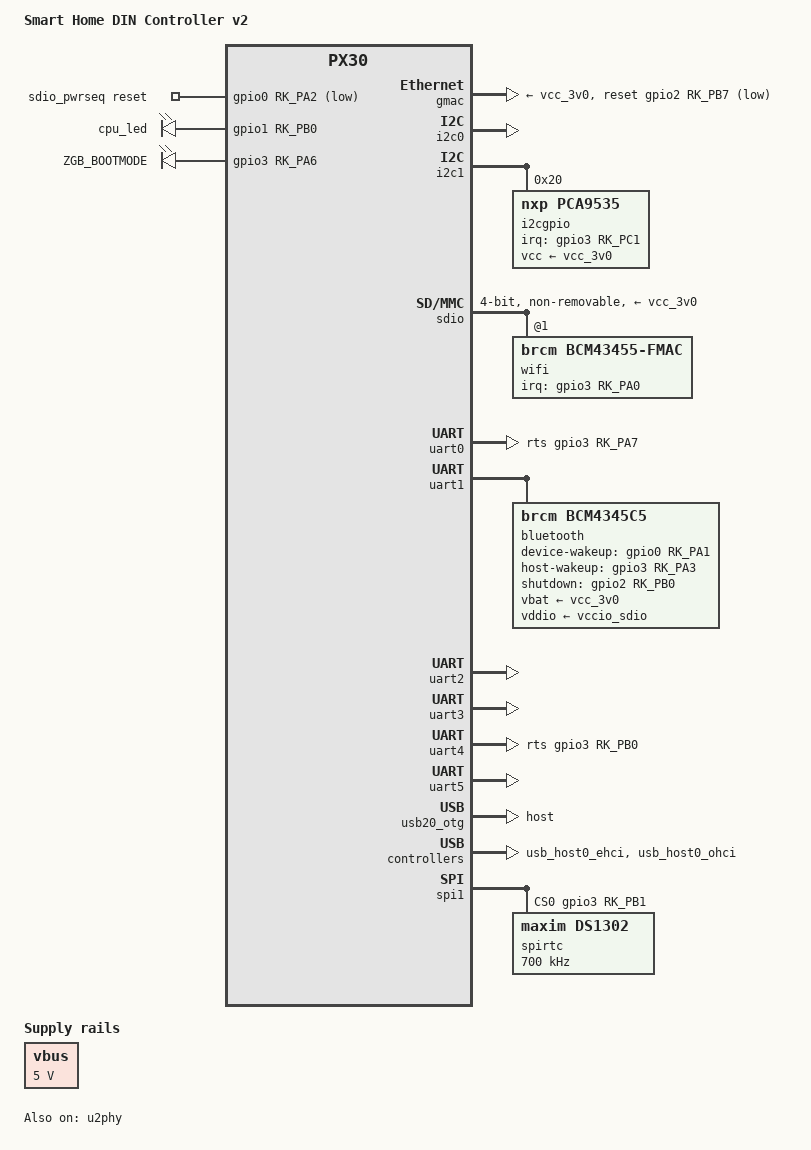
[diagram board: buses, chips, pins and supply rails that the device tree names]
/*
 * Copyright (c) 2024 InMys
 */
 
/*
 SH_PX30_DIN_CNTRL_V2.pdf + SOM_PX30_V1.pdf
*/

/dts-v1/;
#include <dt-bindings/gpio/gpio.h>
#include <dt-bindings/pinctrl/rockchip.h>
#include <dt-bindings/input/input.h>
#include "px30-inmys-som-hh.dtsi"

/ {
	model = "Smart Home DIN Controller v2";
	compatible = "inmys,px30-sh-din_cntrl_v2", "rockchip,px30";

	chosen {
		stdout-path = "serial3:115200n8";
	};
	aliases {
		ethernet0 = &gmac;
		rtc0 = &spirtc;
		rtc1 = &rk817;

		mmc0 = &sdmmc; // sdcard
		mmc1 = &sdio;  // wifi
		mmc2 = &emmc;
	};

	/* SH_PX30_DIN_CNTRL pwr */
	vbus: vbusv {
		compatible = "regulator-fixed";
		regulator-name = "vbus";
		regulator-always-on;
		regulator-boot-on;
		regulator-min-microvolt = <5000000>;
		regulator-max-microvolt = <5000000>;
	};

	sdio_pwrseq: sdio-pwrseq {
		compatible = "mmc-pwrseq-simple";
		clocks = <&rk817 1>;
		clock-names = "ext_clock";
		pinctrl-names = "default";
		pinctrl-0 = <&wifi_enable_h>;

		/*
		 * On the module itself this is one of these (depending
		 * on the actual card populated):
		 * - SDIO_RESET_L_WL_REG_ON
		 * - PDN (power down when low)
		 */
		reset-gpios = <&gpio0 RK_PA2 GPIO_ACTIVE_LOW>;
		post-power-on-delay-ms = <10>;
	};

	leds{
		compatible = "gpio-leds";
		pinctrl-names = "default";
		pinctrl-0 = <&led_gpio &zgb_reset_pin>;
		cpu_led {
			label = "cpu_led";
			gpios = <&gpio1 RK_PB0 GPIO_ACTIVE_HIGH>;
			linux,default-trigger = "heartbeat";
		};
		ZGB_BOOTMODE { // CPU_BOOTMODE in sch
			gpios = <&gpio3 RK_PA6 GPIO_ACTIVE_HIGH>;
			default-state = "on";
		};
#if 0
		/* disabled, confict with openocd(use gpio) */
		ZGB_RESET {
			gpios = <&gpio3 RK_PD3 GPIO_ACTIVE_LOW>;
			default-state = "off";
		};
#endif

#if 0
		RELAY_1 {
			gpios = <&gpio3 RK_PC3 GPIO_ACTIVE_HIGH>;
			default-state = "keep";
		};
		RELAY_2 {
			gpios = <&gpio3 RK_PC4 GPIO_ACTIVE_HIGH>;
			default-state = "keep";
		};
		RELAY_3 {
			gpios = <&gpio3 RK_PC5 GPIO_ACTIVE_HIGH>;
			default-state = "keep";
		};

		
		LED_PAIR_RED {
			gpios = <&i2cgpio 0 GPIO_ACTIVE_HIGH>;
			default-state = "off";	
		};  

		LED_PAIR_GREEN {
			gpios = <&i2cgpio 1 GPIO_ACTIVE_HIGH>;
			default-state = "off";	
		};  

		LED_WIFI_RED {
			gpios = <&i2cgpio 2 GPIO_ACTIVE_HIGH>;
			default-state = "off";	
		};  

		LED_WIFI_GREEN {
			gpios = <&i2cgpio 3 GPIO_ACTIVE_HIGH>;
			default-state = "off";	
		};  

		LED_POWER_RED {
			gpios = <&i2cgpio 4 GPIO_ACTIVE_HIGH>;
			default-state = "off";	
		};  

		LED_POWER_GREEN {
			gpios = <&i2cgpio 5 GPIO_ACTIVE_HIGH>;
			default-state = "on";	
		};  

		LED_BOOT_RED {
			gpios = <&i2cgpio 6 GPIO_ACTIVE_HIGH>;
			default-state = "off";	
		};  

		LED_BOOT_GREEN {
			gpios = <&i2cgpio 7 GPIO_ACTIVE_HIGH>;
			default-state = "off";	
		};  

#endif		
	};
#if 0
	gpio_keys: gpio-keys {
                compatible = "gpio-keys";
                pinctrl-names = "default";
                pinctrl-0 = <&btn_gpio>;
                autorepeat;

                pair_btn {
                        debounce-interval = <100>;
                        gpios = <&gpio3 RK_PC0 GPIO_ACTIVE_LOW>;
                        label = "pair_btn";
                        linux,code = <KEY_UP>;
                        wakeup-source;
                };

        };
#endif
};

#if 1
        &cpu0_opp_table {
                opp-1200000000 {
                        status="disabled";
                };
                opp-1296000000 {
                        status="disabled";
                };
        };

#endif


&gmac {
	status = "okay";
	
	phy-supply = <&vcc_3v0>;
	clock_in_out = "output";
	snps,reset-gpio = <&gpio2 RK_PB7 GPIO_ACTIVE_LOW>;
	snps,reset-active-low;
	snps,reset-delays-us = <0 50000 50000>;
	status = "okay";

	tx_delay = <0x30>;
	rx_delay = <0x10>;
#if 0
	phy-handle = <&yt8512>;
	yt8512: ethernet-phy@0{
		reg = <0>;
		reset-assert-us = <50000>;
		reset-deassert-us = <50000>;
		reset-gpios = <&gpio2 RK_PB7 GPIO_ACTIVE_LOW>;
		compatible = "ethernet-phy-ieee802.3-c22";
	};
#endif
};

&i2c0 {
	status = "okay";
};

&i2c1 {
	status = "okay";

        i2cgpio: pca9535@20 {
                compatible = "nxp,pca9535";
                vcc-supply = <&vcc_3v0>;
                reg = <0x20>;

                /* I2C_INT -> GPIO3_C1 */
                interrupt-parent = <&gpio3>;
                interrupts = <RK_PC1 IRQ_TYPE_LEVEL_LOW>;
                interrupt-controller;
                #interrupt-cells = <2>;

                gpio-controller;
                #gpio-cells = <2>;
                gpio-line-names =
			"LED_PAIR_RED", "LED_PAIR_GREEN", "LED_WIFI_RED", "LED_WIFI_GREEN", "LED_POWER_RED", "LED_POWER_GREEN", "LED_BOOT_RED", "LED_BOOT_GREEN",
			"", "", "", "", "", "", "", "";
	};
};

/* sdcard */
&sdmmc {
	status = "disabled";
};

/* wifi */
&sdio {
	#address-cells = <1>;
	#size-cells = <0>;
	bus-width = <4>;
	disable-wp;
	cap-sd-highspeed;
	cap-sdio-irq;
	keep-power-in-suspend;
	mmc-pwrseq = <&sdio_pwrseq>;
	non-removable;
	//pinctrl-names = "default";
	//pinctrl-0 = <&sdio_bus4 &sdio_cmd &sdio_clk>;
	sd-uhs-sdr104;
	vmmc-supply = <&vcc_3v0>;
	vqmmc-supply = <&vccio_sdio>;
	status = "okay";
	wifi@1 {
		compatible = "brcm,bcm43455-fmac";
		reg = <1>;
		interrupt-parent = <&gpio3>;
		interrupts = <RK_PA0 IRQ_TYPE_LEVEL_HIGH>;
		interrupt-names = "host-wake";
		//pinctrl-names = "default";
		//pinctrl-0 = <&wifi_host_wake_h>;
	};
};


&uart0 {
	/* RS485 */
	pinctrl-names = "default";
	pinctrl-0 = <&uart0_xfer>;
	status = "okay";
	rts-gpios = <&gpio3 RK_PA7 GPIO_ACTIVE_HIGH>; // rts used for txen in rs485 mode
        //rs485-rts-delay = <0 200>;
        linux,rs485-enabled-at-boot-time;

};

&uart1 {
	/*bluetooth*/
	pinctrl-names = "default";
	pinctrl-0 = <&uart1_xfer &uart1_cts &uart1_rts>;
	status = "okay";

	bluetooth {
		compatible = "brcm,bcm4345c5";
		clocks = <&rk817 1>;
		clock-names = "lpo";
		device-wakeup-gpios = <&gpio0 RK_PA1 GPIO_ACTIVE_HIGH>; //HOST_WAKE_BT_H
		host-wakeup-gpios = <&gpio3 RK_PA3 GPIO_ACTIVE_HIGH>; //BT_WAKE_HOST_H
		//reset-gpios = <&gpio2 RK_PB0 GPIO_ACTIVE_HIGH>; //BT_REG_ON_H
		shutdown-gpios = <&gpio2 RK_PB0 GPIO_ACTIVE_HIGH>; //BT_REG_ON_H
		vbat-supply = <&vcc_3v0>;
		vddio-supply = <&vccio_sdio>;
		/*max-speed = <115200>;*/
	};
};

&uart2 {
	/* RS232 */
	pinctrl-names = "default";
	pinctrl-0 = <&uart2m1_xfer>;
	status = "okay";
};

&uart3{
	/* console */
        pinctrl-names = "default";
        pinctrl-0 = <&uart3m1_xfer>;
        status = "okay";
};

&uart4 {
        /* RS485 */
        pinctrl-names = "default";
        pinctrl-0 = <&uart4_xfer>;
        status = "okay";
        rts-gpios = <&gpio3 RK_PB0 GPIO_ACTIVE_HIGH>; // rts used for txen in rs485 mode
        //rs485-rts-delay = <0 200>;
        linux,rs485-enabled-at-boot-time;
};

&uart5 {
	/* zigbee */
	status = "okay";
	pinctrl-names = "default";
	pinctrl-0 = <&uart5_xfer>;
};


#define USB_CONNECTOR_IS_HOST 1
&u2phy {
	status = "okay";
#if USB_CONNECTOR_IS_HOST
	u2phy_host: host-port {
		status = "okay";
	};
#else
	u2phy_otg: otg-port {
		status = "okay";
	};
#endif
};

&usb20_otg {
	status = "okay";
#if USB_CONNECTOR_IS_HOST
	dr_mode = "host";
#endif
};

#if 1
&usb_host0_ehci {
	status = "okay";
};

&usb_host0_ohci {
	status = "okay";
};
#endif

&gpu {
	status = "disabled";
};

&vopb {
	status = "disabled";
};

&vopb_mmu {
	status = "disabled";
};

&vopl {
	status = "disabled";
};

&vopl_mmu {
	status = "disabled";
};

&gpio0 {
	gpio-line-names = 
		"","HOST_WAKE_BT","WIFI_REG_ON","","SDMMC0_DET","","","",
		"","","","","","DIG_IN4","","DIG_IN3",
		"DIG_IN2","DIG_IN1","","","","","","",
		"","","","","","","","";
};

&gpio2 {
	gpio-line-names =
		"","","","","","","","",
		"BT_REG_ON","","","","","","","",
		"","","","","","","","",
		"","","","","","","","";
};

&gpio3 {
	gpio-line-names = 
		"WIFI_WAKE_HOST","","","BT_WAKE_HOST","EXT_SIGNAL","","CPU_BOOTMODE","",
		"","","","","","","","",
		"","","","RELAY_1","RELAY_2","RELAY_3","","JTAG_TDI",
		"JTAG_TDO","TCK","TMS","ZGB_RST","","","","";
};

&spi1 {
	status = "okay";
	pinctrl-names = "default", "high_speed";
	//pinctrl-0 = <&spi1_clk &spi1_csn0 &spi1_miso &spi1_mosi>;
	//pinctrl-1 = <&spi1_clk_hs &spi1_csn0 &spi1_miso_hs &spi1_mosi_hs>;
	pinctrl-0 = <&spi1_clk &spi1_miso &spi1_mosi>;
	pinctrl-1 = <&spi1_clk_hs &spi1_miso_hs &spi1_mosi_hs>;
	num-cs = <1>;
	cs-gpios = <&gpio3 RK_PB1 GPIO_ACTIVE_HIGH>;
#if 1
	spirtc: spirtc@0 {
		compatible = "maxim,ds1302";
		reg = <0>;
		spi-max-frequency = <700000>;
		/*spi-3wire;*/
		spi-lsb-first;
		spi-cs-high;
	};
#else
	spidev@0{
		/* compatible = "linux,spidev"; */
		compatible = "rohm,dh2228fv";
		reg = <0>;
		spi-max-frequency = <700000>;
		/*spi-3wire;*/
		spi-lsb-first;
		spi-cs-high;
	};
#endif
};


&pinctrl {
	sdio-pwrseq {
		wifi_enable_h: wifi-enable-h {
			rockchip,pins = 
				<0 RK_PA2 RK_FUNC_GPIO &pcfg_pull_none>;
		};
	};
	wlan {
		wifi_host_wake: wifi-host-wake{
			rockchip,pins =
				<3 RK_PA0 RK_FUNC_GPIO &pcfg_pull_up>;
		};
	};
	led{
		zgb_reset_pin: zgb-reset-pin{
			rockchip,pins =
				<3 RK_PD3 RK_FUNC_GPIO &pcfg_pull_up>; // pull_up => no reset on zgb

		};
	};
	led{
		zgb_reset_pin: zgb-reset-pin{
			rockchip,pins =
				<3 RK_PD3 RK_FUNC_GPIO &pcfg_pull_up>; // pull_up => no reset on zgb

		};
	};

        buttons{
                btn_gpio: btn_gpio{
                        rockchip,pins =
                                <3 RK_PC0 RK_FUNC_GPIO &pcfg_pull_up>; // pair button
                };
        };

};

/* DON'T PUT ANYTHING BELOW HERE.  PUT IT ABOVE PINCTRL */
/* DON'T PUT ANYTHING BELOW HERE.  PUT IT ABOVE PINCTRL */
/* DON'T PUT ANYTHING BELOW HERE.  PUT IT ABOVE PINCTRL */
